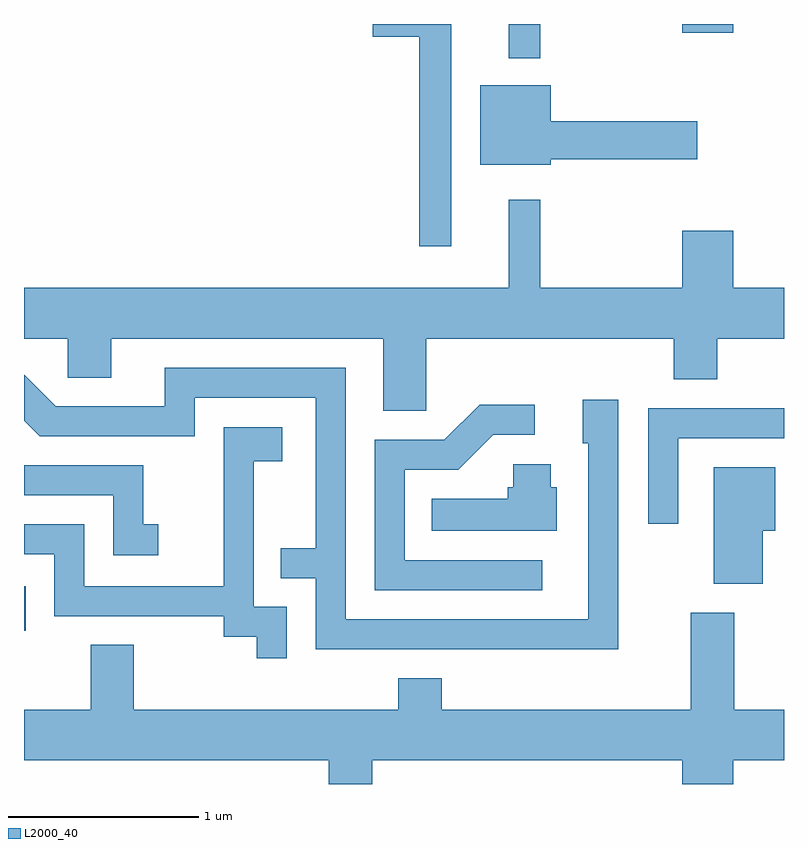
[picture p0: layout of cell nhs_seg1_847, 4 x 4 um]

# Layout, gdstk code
import gdstk
lib = gdstk.Library(unit=1e-6, precision=1e-09)
def R(c, l, rs):  # rectangles x0, y0, x1, y1
    for r in rs: c.add(gdstk.rectangle(r[:2], r[2:], *l))
def P(c, l, *ps):  # polygons
    for p in ps: c.add(gdstk.Polygon(p, *l))
L2000_40 = (2000, 40)

nhs_seg1_847 = lib.new_cell('nhs_seg1_847')
R(nhs_seg1_847, L2000_40, [(211.611,862.518,211.619,862.754), (214.161,865.533,214.329,865.712), (215.076,865.666,215.344,865.712)])
P(nhs_seg1_847, L2000_40, [(213.859,865.712),(213.446,865.712),(213.446,865.646),(213.691,865.646),(213.691,864.543),(213.859,864.543)],
  [(214.384,865.001),(215.154,865.001),(215.154,865.199),(214.384,865.199),(214.384,865.389),(214.011,865.389),(214.011,864.971),(214.384,864.971)],
  [(213.729,864.056),(215.031,864.056),(215.031,863.841),(215.259,863.841),(215.259,864.056),(215.611,864.056),(215.611,864.324),(215.344,864.324),(215.344,864.624),(215.076,864.624),(215.076,864.324),(214.329,864.324),(214.329,864.788),(214.161,864.788),(214.161,864.324),(211.611,864.324),(211.611,864.056),(211.841,864.056),(211.841,863.851),(212.069,863.851),(212.069,864.056),(213.501,864.056),(213.501,863.676),(213.729,863.676)],
  [(214.739,863.734),(214.551,863.734),(214.551,863.506),(214.581,863.506),(214.581,862.579),(213.304,862.579),(213.304,863.904),(212.351,863.904),(212.351,863.699),(211.777,863.699),(211.611,863.865),(211.611,863.624),(211.694,863.541),(212.509,863.541),(212.509,863.746),(213.146,863.746),(213.146,862.954),(212.963,862.954),(212.963,862.796),(213.146,862.796),(213.146,862.421),(214.739,862.421)],
  [(214.338,862.889),(213.614,862.889),(213.614,863.366),(213.897,863.366),(214.082,863.551),(214.298,863.551),(214.298,863.709),(214.009,863.709),(213.824,863.524),(213.456,863.524),(213.456,862.731),(214.338,862.731)],
  [(215.054,863.531),(215.611,863.531),(215.611,863.689),(214.896,863.689),(214.896,863.083),(215.054,863.083)],
  [(212.994,862.644),(212.819,862.644),(212.819,863.411),(212.969,863.411),(212.969,863.589),(212.661,863.589),(212.661,862.754),(211.929,862.754),(211.929,863.079),(211.611,863.079),(211.611,862.921),(211.771,862.921),(211.771,862.596),(212.661,862.596),(212.661,862.486),(212.836,862.486),(212.836,862.373),(212.994,862.373)],
  [(214.414,863.274),(214.384,863.274),(214.384,863.394),(214.186,863.394),(214.186,863.274),(214.156,863.274),(214.156,863.214),(213.758,863.214),(213.758,863.046),(214.414,863.046)],
  [(212.318,863.079),(212.239,863.079),(212.239,863.389),(211.611,863.389),(211.611,863.231),(212.081,863.231),(212.081,862.916),(212.318,862.916)],
  [(215.499,863.046),(215.564,863.046),(215.564,863.379),(215.241,863.379),(215.241,862.766),(215.499,862.766)],
  [(213.444,861.836),(215.076,861.836),(215.076,861.712),(215.344,861.712),(215.344,861.836),(215.611,861.836),(215.611,862.104),(215.349,862.104),(215.349,862.614),(215.121,862.614),(215.121,862.104),(213.809,862.104),(213.809,862.269),(213.581,862.269),(213.581,862.104),(212.189,862.104),(212.189,862.444),(211.961,862.444),(211.961,862.104),(211.611,862.104),(211.611,861.836),(213.216,861.836),(213.216,861.712),(213.444,861.712)])

lib.write_gds('nhs_seg1_847.gds')
